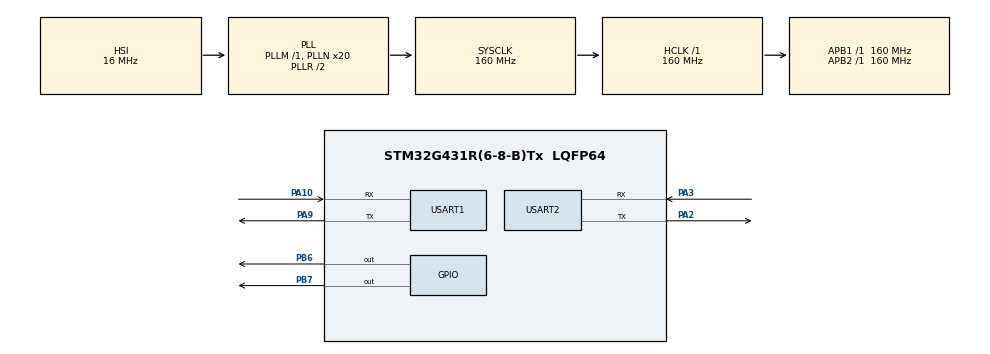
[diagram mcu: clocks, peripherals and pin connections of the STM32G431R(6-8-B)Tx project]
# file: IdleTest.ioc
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Dma.Request0=USART1_RX
Dma.Request1=USART1_TX
Dma.Request2=USART2_RX
Dma.Request3=USART2_TX
Dma.USART1_RX.0.Direction=DMA_PERIPH_TO_MEMORY
Dma.USART1_RX.0.EventEnable=DISABLE
Dma.USART1_RX.0.Instance=DMA1_Channel1
Dma.USART1_RX.0.MemDataAlignment=DMA_MDATAALIGN_BYTE
Dma.USART1_RX.0.MemInc=DMA_MINC_ENABLE
Dma.USART1_RX.0.Mode=DMA_NORMAL
Dma.USART1_RX.0.PeriphDataAlignment=DMA_PDATAALIGN_BYTE
Dma.USART1_RX.0.PeriphInc=DMA_PINC_DISABLE
Dma.USART1_RX.0.Polarity=HAL_DMAMUX_REQ_GEN_RISING
Dma.USART1_RX.0.Priority=DMA_PRIORITY_LOW
Dma.USART1_RX.0.RequestNumber=1
Dma.USART1_RX.0.SignalID=NONE
Dma.USART1_RX.0.SyncEnable=DISABLE
Dma.USART1_RX.0.SyncPolarity=HAL_DMAMUX_SYNC_NO_EVENT
Dma.USART1_RX.0.SyncRequestNumber=1
Dma.USART1_RX.0.SyncSignalID=NONE
Dma.USART1_TX.1.Direction=DMA_MEMORY_TO_PERIPH
Dma.USART1_TX.1.EventEnable=DISABLE
Dma.USART1_TX.1.Instance=DMA1_Channel2
Dma.USART1_TX.1.MemDataAlignment=DMA_MDATAALIGN_BYTE
Dma.USART1_TX.1.MemInc=DMA_MINC_ENABLE
Dma.USART1_TX.1.Mode=DMA_NORMAL
Dma.USART1_TX.1.PeriphDataAlignment=DMA_PDATAALIGN_BYTE
Dma.USART1_TX.1.PeriphInc=DMA_PINC_DISABLE
Dma.USART1_TX.1.Polarity=HAL_DMAMUX_REQ_GEN_RISING
Dma.USART1_TX.1.Priority=DMA_PRIORITY_LOW
Dma.USART1_TX.1.RequestNumber=1
Dma.USART1_TX.1.SignalID=NONE
Dma.USART1_TX.1.SyncEnable=DISABLE
Dma.USART1_TX.1.SyncPolarity=HAL_DMAMUX_SYNC_NO_EVENT
Dma.USART1_TX.1.SyncRequestNumber=1
Dma.USART1_TX.1.SyncSignalID=NONE
Dma.USART2_RX.2.Direction=DMA_PERIPH_TO_MEMORY
Dma.USART2_RX.2.EventEnable=DISABLE
Dma.USART2_RX.2.Instance=DMA1_Channel3
Dma.USART2_RX.2.MemDataAlignment=DMA_MDATAALIGN_BYTE
Dma.USART2_RX.2.MemInc=DMA_MINC_ENABLE
Dma.USART2_RX.2.Mode=DMA_NORMAL
Dma.USART2_RX.2.PeriphDataAlignment=DMA_PDATAALIGN_BYTE
Dma.USART2_RX.2.PeriphInc=DMA_PINC_DISABLE
Dma.USART2_RX.2.Polarity=HAL_DMAMUX_REQ_GEN_RISING
Dma.USART2_RX.2.Priority=DMA_PRIORITY_LOW
Dma.USART2_RX.2.RequestNumber=1
Dma.USART2_RX.2.SignalID=NONE
Dma.USART2_RX.2.SyncEnable=DISABLE
Dma.USART2_RX.2.SyncPolarity=HAL_DMAMUX_SYNC_NO_EVENT
Dma.USART2_RX.2.SyncRequestNumber=1
Dma.USART2_RX.2.SyncSignalID=NONE
Dma.USART2_TX.3.Direction=DMA_MEMORY_TO_PERIPH
Dma.USART2_TX.3.EventEnable=DISABLE
Dma.USART2_TX.3.Instance=DMA1_Channel4
Dma.USART2_TX.3.MemDataAlignment=DMA_MDATAALIGN_BYTE
Dma.USART2_TX.3.MemInc=DMA_MINC_ENABLE
Dma.USART2_TX.3.Mode=DMA_NORMAL
Dma.USART2_TX.3.PeriphDataAlignment=DMA_PDATAALIGN_BYTE
Dma.USART2_TX.3.PeriphInc=DMA_PINC_DISABLE
Dma.USART2_TX.3.Polarity=HAL_DMAMUX_REQ_GEN_RISING
Dma.USART2_TX.3.Priority=DMA_PRIORITY_LOW
Dma.USART2_TX.3.RequestNumber=1
Dma.USART2_TX.3.SignalID=NONE
Dma.USART2_TX.3.SyncEnable=DISABLE
Dma.USART2_TX.3.SyncPolarity=HAL_DMAMUX_SYNC_NO_EVENT
Dma.USART2_TX.3.SyncRequestNumber=1
Dma.USART2_TX.3.SyncSignalID=NONE
Mcu.Family=STM32G4
Mcu.Name=STM32G431R(6-8-B)Tx
Mcu.Package=LQFP64
NVIC.DMA1_Channel1_IRQn=true\:0\:0\:false\:false\:true\:false\:true\:true
NVIC.DMA1_Channel2_IRQn=true\:0\:0\:false\:false\:true\:false\:true\:true
NVIC.DMA1_Channel3_IRQn=true\:0\:0\:false\:false\:true\:false\:true\:true
NVIC.DMA1_Channel4_IRQn=true\:0\:0\:false\:false\:true\:false\:true\:true
NVIC.PriorityGroup=NVIC_PRIORITYGROUP_4
NVIC.USART1_IRQn=true\:0\:0\:false\:false\:true\:true\:true\:true
PA10.Mode=Asynchronous
PA10.Signal=USART1_RX
PA13.Mode=Serial_Wire
PA13.Signal=SYS_JTMS-SWDIO
PA14.Mode=Serial_Wire
PA14.Signal=SYS_JTCK-SWCLK
PA2.Mode=Asynchronous
PA2.Signal=USART2_TX
PA3.Mode=Asynchronous
PA3.Signal=USART2_RX
PA9.Mode=Asynchronous
PA9.Signal=USART1_TX
PB6.Signal=GPIO_Output
PB7.Signal=GPIO_Output
PF0-OSC_IN.Mode=HSE-External-Oscillator
PF0-OSC_IN.Signal=RCC_OSC_IN
PF1-OSC_OUT.Mode=HSE-External-Oscillator
PF1-OSC_OUT.Signal=RCC_OSC_OUT
ProjectManager.HeapSize=0x200
ProjectManager.StackSize=0x400
ProjectManager.TargetToolchain=MDK-ARM V5
RCC.ADC12Freq_Value=160000000
RCC.AHBFreq_Value=160000000
RCC.APB1Freq_Value=160000000
RCC.APB1TimFreq_Value=160000000
RCC.APB2Freq_Value=160000000
RCC.APB2TimFreq_Value=160000000
RCC.CortexFreq_Value=160000000
RCC.EXTERNAL_CLOCK_VALUE=12288000
RCC.HCLKFreq_Value=160000000
RCC.HSE_VALUE=8000000
RCC.HSI48_VALUE=48000000
RCC.HSI_VALUE=16000000
RCC.LSE_VALUE=32768
RCC.PLLN=20
RCC.SYSCLKFreq_VALUE=160000000
RCC.SYSCLKSource=RCC_SYSCLKSOURCE_PLLCLK
RCC.USBFreq_Value=160000000
RCC.VCOOutputFreq_Value=320000000
USART1.VirtualMode-Asynchronous=VM_ASYNC
USART2.VirtualMode-Asynchronous=VM_ASYNC
VP_SYS_VS_DBSignals.Mode=DisableDeadBatterySignals
board=custom

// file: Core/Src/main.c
/* USER CODE BEGIN Header */
/**
  ******************************************************************************
  * @file           : main.c
  * @brief          : Main program body
  ******************************************************************************
  * @attention
  *
  * Copyright (c) 2023 STMicroelectronics.
  * All rights reserved.
  *
  * This software is licensed under terms that can be found in the LICENSE file
  * in the root directory of this software component.
  * If no LICENSE file comes with this software, it is provided AS-IS.
  *
  ******************************************************************************
  */
/* USER CODE END Header */
#include "main.h"
#include "dma.h"
#include "usart.h"
#include "gpio.h"

/* USER CODE BEGIN Includes */
#include <stdio.h>
#include <stdarg.h>
#include <stdlib.h>
#include <stdbool.h>
#include <string.h>
#include "i2c.h"
/* USER CODE END Includes */

/* USER CODE BEGIN PV */
uint8_t fmtbuf[64] = {0};
uint8_t recvbuf[64] = {0};
bool 	rxIdle		= false;
/* USER CODE END PV */

void SystemClock_Config(void);
/* USER CODE BEGIN PFP */

int fputc(int, FILE *);
uint8_t *format(char *fmt, ...) {
	va_list ap;
	va_start(ap, fmt);
	vsprintf((char *)fmtbuf, fmt, ap);
	return fmtbuf;
}

void eeWrite8(uint8_t addr, uint8_t val) {
	I2CStart();
	I2CSendByte(0xA0);
	I2CWaitAck();
	I2CSendByte(addr);
	I2CWaitAck();
	I2CSendByte(val);
	I2CWaitAck();
	I2CStop();
}

uint8_t eeRead8(uint8_t addr) {
	I2CStart();
	I2CSendByte(0xA0);
	I2CWaitAck();
	I2CSendByte(addr);
	I2CWaitAck();
	I2CStop();
	I2CStart();
	I2CSendByte(0xA1);
	I2CWaitAck();
	uint8_t r = I2CReceiveByte();
	I2CSendNotAck();
	I2CStop();
	return r;
}

void eeWrite16(uint8_t addr, uint16_t val) {
	I2CStart();
	I2CSendByte(0xA0);
	I2CWaitAck();
	I2CSendByte(addr);
	I2CWaitAck();
	I2CSendByte(val >> 8);
	I2CWaitAck();
	I2CSendByte(val & 0x00FF);
	I2CWaitAck();
	I2CStop();
}

void eeWriteAny(uint8_t addr, void *data, uint16_t size) {
	uint8_t *p = data;
	register int s = size;
	eeWrite8(addr, *p);
	while(--s) {
		HAL_Delay(5);
		eeWrite8(++addr, *(++p));
	}
}

void *eeReadAny(uint8_t addr, uint16_t size) {
	void *r = malloc(size);
	uint8_t *p = r;
	*p = eeRead8(addr);
	while(--size) {
		HAL_Delay(5);
		*(++p) = eeRead8(++addr);
	}
	return r;
}

void eeDump() {
	//uint8_t val;
	HAL_UART_Transmit(&huart1, (uint8_t *)"0x_-  0 1 2 3 4 5 6 7 8 9 A B C D E F", 37, 0xFFFF);
	uint8_t vl = 0x00;
	for(register int addr = 0x00; addr < 0x100; addr++) {
		if(addr == vl) {
			printf("\n0x%1x- ", addr >> 4);
			vl += 0x10;
		}
		printf("%x", eeRead8(addr));
		HAL_Delay(5);
	}
}

/* USER CODE END PFP */

int main(void)
{

  /* MCU Configuration--------------------------------------------------------*/

  /* Reset of all peripherals, Initializes the Flash interface and the Systick. */
  HAL_Init();

  /* Configure the system clock */
  SystemClock_Config();

  /* Initialize all configured peripherals */
  MX_GPIO_Init();
  MX_DMA_Init();
  MX_USART1_UART_Init();
  MX_USART2_UART_Init();
  /* USER CODE BEGIN 2 */

  __HAL_UART_ENABLE_IT(&huart1, UART_IT_IDLE);
  HAL_UART_Receive_DMA(&huart1, recvbuf, 63);

//	HAL_UART_Transmit(&huart1, (uint8_t *)"Test\n", 5, 0xFFFF);
//	I2CInit();
//	eeWrite8(0x00, 0);
//	HAL_Delay(20);
	typedef struct {
		char string[12];
		int  randomNum;
	} Data;
	Data data;
	strcpy(data.string, "Hell wooled?");
	data.randomNum = 1919810;
	eeWriteAny(0x10, &data, sizeof(data));
	HAL_Delay(5);
	Data *readData = (Data *)eeReadAny(0x10, sizeof(Data));
	printf("%s\n", readData->string);
	printf("%d\n", readData->randomNum);
	eeDump();
  /* USER CODE END 2 */

  /* Infinite loop */
  /* USER CODE BEGIN WHILE */
  while (1)
  {
	if(rxIdle) {
		rxIdle = false;
		printf("Recv: %s", recvbuf);
		memset(recvbuf, 0, 64);
		HAL_UART_Receive_DMA(&huart1, recvbuf, 63);
	}
    /* USER CODE END WHILE */

  }
}

void SystemClock_Config(void)
{
  RCC_OscInitTypeDef RCC_OscInitStruct = {0};
  RCC_ClkInitTypeDef RCC_ClkInitStruct = {0};

  /** Configure the main internal regulator output voltage
  */
  HAL_PWREx_ControlVoltageScaling(PWR_REGULATOR_VOLTAGE_SCALE1_BOOST);

  /** Initializes the RCC Oscillators according to the specified parameters
  * in the RCC_OscInitTypeDef structure.
  */
  RCC_OscInitStruct.OscillatorType = RCC_OSCILLATORTYPE_HSI;
  RCC_OscInitStruct.HSIState = RCC_HSI_ON;
  RCC_OscInitStruct.HSICalibrationValue = RCC_HSICALIBRATION_DEFAULT;
  RCC_OscInitStruct.PLL.PLLState = RCC_PLL_ON;
  RCC_OscInitStruct.PLL.PLLSource = RCC_PLLSOURCE_HSI;
  RCC_OscInitStruct.PLL.PLLM = RCC_PLLM_DIV1;
  RCC_OscInitStruct.PLL.PLLN = 20;
  RCC_OscInitStruct.PLL.PLLP = RCC_PLLP_DIV2;
  RCC_OscInitStruct.PLL.PLLQ = RCC_PLLQ_DIV2;
  RCC_OscInitStruct.PLL.PLLR = RCC_PLLR_DIV2;
  if (HAL_RCC_OscConfig(&RCC_OscInitStruct) != HAL_OK)
  {
    Error_Handler();
  }

  /** Initializes the CPU, AHB and APB buses clocks
  */
  RCC_ClkInitStruct.ClockType = RCC_CLOCKTYPE_HCLK|RCC_CLOCKTYPE_SYSCLK
                              |RCC_CLOCKTYPE_PCLK1|RCC_CLOCKTYPE_PCLK2;
  RCC_ClkInitStruct.SYSCLKSource = RCC_SYSCLKSOURCE_PLLCLK;
  RCC_ClkInitStruct.AHBCLKDivider = RCC_SYSCLK_DIV1;
  RCC_ClkInitStruct.APB1CLKDivider = RCC_HCLK_DIV1;
  RCC_ClkInitStruct.APB2CLKDivider = RCC_HCLK_DIV1;

  if (HAL_RCC_ClockConfig(&RCC_ClkInitStruct, FLASH_LATENCY_4) != HAL_OK)
  {
    Error_Handler();
  }
}

/* USER CODE BEGIN 4 */

int fputc(int ch, FILE *f)
{
  HAL_UART_Transmit(&huart1, (uint8_t *)&ch, 1, 0xffff);
  return ch;
}

/* USER CODE END 4 */

void Error_Handler(void)
{
  __disable_irq();
  while (1)
  {
  }
}
